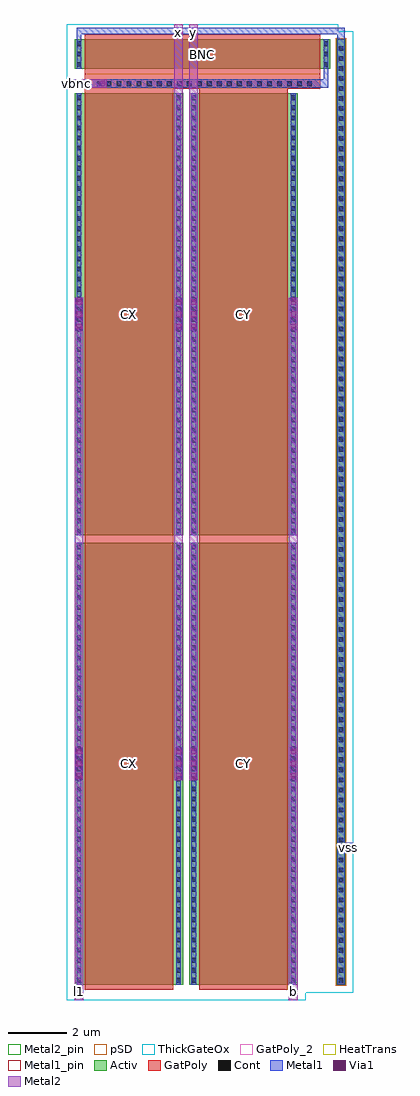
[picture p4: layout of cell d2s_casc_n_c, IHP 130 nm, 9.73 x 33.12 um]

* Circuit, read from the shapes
.subckt d2s_casc_n_c b l1 vbnc vss x y
XM1 x vbnc l1 vss sg13_hv_nmos w=15u l=3u m=2
XM2 vbnc vbnc vss vss sg13_hv_nmos w=1u l=8u
XM3 b vbnc y vss sg13_hv_nmos w=15u l=3u m=2
.ends

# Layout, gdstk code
import gdstk
lib = gdstk.Library(unit=1e-6, precision=1e-09)
def R(c, l, rs):  # rectangles x0, y0, x1, y1
    for r in rs: c.add(gdstk.rectangle(r[:2], r[2:], *l))
def A(c, l, x, y, w, h, nx, ny, dx, dy):  # array of equal rectangles
    R(c, l, [(x+i*dx, y+j*dy, x+i*dx+w, y+j*dy+h) for i in range(nx) for j in range(ny)])
def P(c, l, *ps):  # polygons
    for p in ps: c.add(gdstk.Polygon(p, *l))
Activ = (1, 0)
GatPoly = (5, 0)
GatPoly_2 = (5, 2)
Cont = (6, 0)
Metal1 = (8, 0)
Metal1_pin = (8, 2)
Metal2 = (10, 0)
Metal2_pin = (10, 2)
pSD = (14, 0)
Via1 = (19, 0)
ThickGateOx = (44, 0)
HeatTrans = (51, 0)

nmoshv_1 = lib.new_cell('nmosHV$1')
R(nmoshv_1, Activ, [(0,0,0.3,0.3), (0,0,3.68,15), (3.38,0,3.68,0.3)])
R(nmoshv_1, GatPoly, [(0.34,-0.18,3.34,15.18)])
R(nmoshv_1, GatPoly_2, [(0.34,-0.18,3.34,15.18)])
A(nmoshv_1, Cont, 0.07, 0.07, 0.16, 0.16, 1, 3, 0, 0.34)
A(nmoshv_1, Cont, 3.45, 0.07, 0.16, 0.16, 1, 3, 0, 0.34)
A(nmoshv_1, Cont, 0.07, 1.095, 0.16, 0.16, 1, 3, 0, 0.34)
A(nmoshv_1, Cont, 3.45, 1.095, 0.16, 0.16, 1, 3, 0, 0.34)
A(nmoshv_1, Cont, 0.07, 2.12, 0.16, 0.16, 1, 3, 0, 0.34)
A(nmoshv_1, Cont, 3.45, 2.12, 0.16, 0.16, 1, 3, 0, 0.34)
A(nmoshv_1, Cont, 0.07, 3.83, 0.16, 0.16, 1, 3, 0, 0.34)
A(nmoshv_1, Cont, 3.45, 3.83, 0.16, 0.16, 1, 3, 0, 0.34)
A(nmoshv_1, Cont, 0.07, 4.855, 0.16, 0.16, 1, 3, 0, 0.34)
A(nmoshv_1, Cont, 3.45, 4.855, 0.16, 0.16, 1, 3, 0, 0.34)
A(nmoshv_1, Cont, 0.07, 6.565, 0.16, 0.16, 1, 3, 0, 0.34)
A(nmoshv_1, Cont, 3.45, 6.565, 0.16, 0.16, 1, 3, 0, 0.34)
A(nmoshv_1, Cont, 0.07, 7.59, 0.16, 0.16, 1, 3, 0, 0.34)
A(nmoshv_1, Cont, 3.45, 7.59, 0.16, 0.16, 1, 3, 0, 0.34)
A(nmoshv_1, Cont, 0.07, 9.3, 0.16, 0.16, 1, 3, 0, 0.34)
A(nmoshv_1, Cont, 3.45, 9.3, 0.16, 0.16, 1, 3, 0, 0.34)
A(nmoshv_1, Cont, 0.07, 10.325, 0.16, 0.16, 1, 3, 0, 0.34)
A(nmoshv_1, Cont, 3.45, 10.325, 0.16, 0.16, 1, 3, 0, 0.34)
A(nmoshv_1, Cont, 0.07, 12.035, 0.16, 0.16, 1, 3, 0, 0.34)
A(nmoshv_1, Cont, 3.45, 12.035, 0.16, 0.16, 1, 3, 0, 0.34)
A(nmoshv_1, Cont, 0.07, 13.06, 0.16, 0.16, 1, 3, 0, 0.34)
A(nmoshv_1, Cont, 3.45, 13.06, 0.16, 0.16, 1, 3, 0, 0.34)
R(nmoshv_1, Cont, [(0.07,3.145,0.23,3.305), (3.45,3.145,3.61,3.305), (0.07,3.485,0.23,3.645), (3.45,3.485,3.61,3.645), (0.07,5.88,0.23,6.04), (3.45,5.88,3.61,6.04), (0.07,6.22,0.23,6.38), (3.45,6.22,3.61,6.38), (0.07,8.615,0.23,8.775), (3.45,8.615,3.61,8.775), (0.07,8.955,0.23,9.115), (3.45,8.955,3.61,9.115), (0.07,11.35,0.23,11.51), (3.45,11.35,3.61,11.51), (0.07,11.69,0.23,11.85), (3.45,11.69,3.61,11.85), (0.07,14.085,0.23,14.245), (3.45,14.085,3.61,14.245), (0.07,14.425,0.23,14.585), (3.45,14.425,3.61,14.585), (0.07,14.77,0.23,14.93), (3.45,14.77,3.61,14.93)])
R(nmoshv_1, Metal1, [(0.07,0,0.23,15), (3.45,0,3.61,15)])
R(nmoshv_1, Metal1_pin, [(0.07,0,0.23,15), (3.45,0,3.61,15)])
R(nmoshv_1, ThickGateOx, [(-0.27,-0.52,3.95,15.52)])
R(nmoshv_1, HeatTrans, [(0.34,-0.18,3.34,15.18)])
nmoshv_1.add(gdstk.Label('nmosHV', (1.84,7.5), layer=63, texttype=0))
nmoshv_1.add(gdstk.Label('nmosHV', (1.84,7.5), layer=51, texttype=0))

nmoshv_2 = lib.new_cell('nmosHV$2')
R(nmoshv_2, Activ, [(0,0,0.3,0.3), (0,0,8.68,1), (8.38,0,8.68,0.3)])
R(nmoshv_2, GatPoly, [(0.34,-0.18,8.34,1.18)])
R(nmoshv_2, GatPoly_2, [(0.34,-0.18,8.34,1.18)])
A(nmoshv_2, Cont, 0.07, 0.07, 0.16, 0.16, 1, 3, 0, 0.35)
A(nmoshv_2, Cont, 8.45, 0.07, 0.16, 0.16, 1, 3, 0, 0.35)
R(nmoshv_2, Metal1, [(0.07,0,0.23,1), (8.45,0,8.61,1)])
R(nmoshv_2, Metal1_pin, [(0.07,0,0.23,1), (8.45,0,8.61,1)])
R(nmoshv_2, ThickGateOx, [(-0.27,-0.52,8.95,1.52)])
R(nmoshv_2, HeatTrans, [(0.34,-0.18,8.34,1.18)])
nmoshv_2.add(gdstk.Label('nmosHV', (4.34,0.5), layer=63, texttype=0))
nmoshv_2.add(gdstk.Label('nmosHV', (4.34,0.5), layer=51, texttype=0))

d2s_casc_n_c = lib.new_cell('d2s_casc_n_c')
R(d2s_casc_n_c, Activ, [(9.16,0.52,9.46,32.6)])
R(d2s_casc_n_c, GatPoly, [(0.61,30.92,8.61,31.45)])
A(d2s_casc_n_c, Cont, 9.23, 0.59, 0.16, 0.16, 1, 94, 0, 0.34)
A(d2s_casc_n_c, Cont, 0.68, 31.015, 0.16, 0.16, 23, 1, 0.34, 0)
R(d2s_casc_n_c, Metal1, [(9.18,0.54,9.44,32.42), (9.34,5.02,9.73,5.33), (0.315,7.465,0.525,8.575), (3.695,7.465,3.905,8.575), (4.205,7.465,4.415,8.575), (7.585,7.465,7.795,8.575), (0.315,22.715,0.525,23.825), (3.695,22.715,3.905,23.825), (4.205,22.715,4.415,23.825), (7.585,22.715,7.795,23.825), (0.63,30.95,8.88,31.24), (8.72,30.95,8.88,32.6), (0.34,31.6,0.5,32.99), (9.18,32.42,9.44,32.99), (0.34,32.78,9.44,32.99)])
R(d2s_casc_n_c, Metal1_pin, [(9.42,5.02,9.73,5.33)])
R(d2s_casc_n_c, Metal2, [(0.275,0,0.565,23.825), (7.545,0,7.835,23.825), (3.655,7.465,3.945,33.12), (4.165,7.465,4.455,33.12), (0,30.95,1.365,31.24)])
R(d2s_casc_n_c, Metal2_pin, [(0.275,0,0.565,0.6), (7.545,0,7.835,0.6), (0,30.95,0.7,31.24), (3.655,32.52,3.945,33.12), (4.165,32.52,4.455,33.12)])
R(d2s_casc_n_c, pSD, [(9.13,0.49,9.49,32.63)])
A(d2s_casc_n_c, Via1, 0.325, 7.515, 0.19, 0.19, 1, 3, 0, 0.41)
A(d2s_casc_n_c, Via1, 3.705, 7.515, 0.19, 0.19, 1, 3, 0, 0.41)
A(d2s_casc_n_c, Via1, 4.215, 7.515, 0.19, 0.19, 1, 3, 0, 0.41)
A(d2s_casc_n_c, Via1, 7.595, 7.515, 0.19, 0.19, 1, 3, 0, 0.41)
A(d2s_casc_n_c, Via1, 0.325, 22.765, 0.19, 0.19, 1, 3, 0, 0.41)
A(d2s_casc_n_c, Via1, 3.705, 22.765, 0.19, 0.19, 1, 3, 0, 0.41)
A(d2s_casc_n_c, Via1, 4.215, 22.765, 0.19, 0.19, 1, 3, 0, 0.41)
A(d2s_casc_n_c, Via1, 7.595, 22.765, 0.19, 0.19, 1, 3, 0, 0.41)
R(d2s_casc_n_c, Via1, [(1.125,31,1.315,31.19)])
P(d2s_casc_n_c, ThickGateOx, [(0,0),(0,33.12),(9.22,33.12),(9.22,32.87),(9.73,32.87),(9.73,0.25),(8.11,0.25),(8.11,0)])
d2s_casc_n_c.add(gdstk.Reference(nmoshv_1, (0.27,0.52)))
d2s_casc_n_c.add(gdstk.Reference(nmoshv_1, (0.27,15.77)))
d2s_casc_n_c.add(gdstk.Reference(nmoshv_1, (4.16,0.52)))
d2s_casc_n_c.add(gdstk.Reference(nmoshv_1, (4.16,15.77)))
d2s_casc_n_c.add(gdstk.Reference(nmoshv_2, (0.27,31.6)))
d2s_casc_n_c.add(gdstk.Label('CX', (2.11,8.02), layer=63, texttype=0))
d2s_casc_n_c.add(gdstk.Label('CX', (2.11,23.27), layer=63, texttype=0))
d2s_casc_n_c.add(gdstk.Label('CY', (6,8.02), layer=63, texttype=0))
d2s_casc_n_c.add(gdstk.Label('CY', (6,23.27), layer=63, texttype=0))
d2s_casc_n_c.add(gdstk.Label('BNC', (4.61,32.1), layer=63, texttype=0))
d2s_casc_n_c.add(gdstk.Label('vss', (9.575,5.175), layer=8, texttype=25))
d2s_casc_n_c.add(gdstk.Label('l1', (0.42,0.3), layer=10, texttype=25))
d2s_casc_n_c.add(gdstk.Label('x', (3.8,32.82), layer=10, texttype=25))
d2s_casc_n_c.add(gdstk.Label('y', (4.31,32.82), layer=10, texttype=25))
d2s_casc_n_c.add(gdstk.Label('b', (7.69,0.3), layer=10, texttype=25))
d2s_casc_n_c.add(gdstk.Label('vbnc', (0.35,31.095), layer=10, texttype=25))

lib.write_gds('d2s_casc_n_c.gds')
